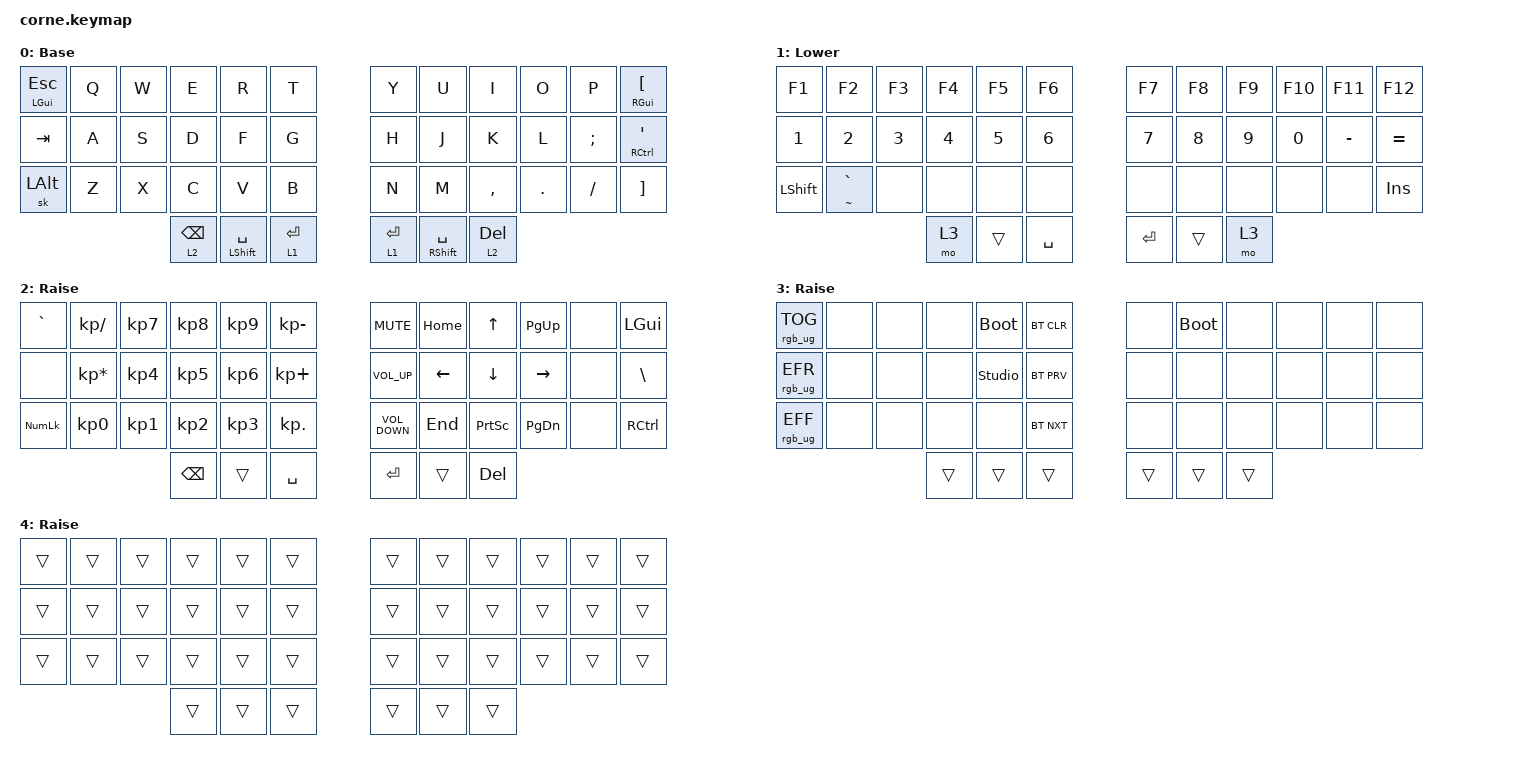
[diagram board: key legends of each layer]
/*
 * Copyright (c) 2020 The ZMK Contributors
 *
 * SPDX-License-Identifier: MIT
 */

#include <behaviors.dtsi>
#include <dt-bindings/zmk/bt.h>
#include <dt-bindings/zmk/keys.h>
#include <dt-bindings/zmk/rgb.h>

&led_strip {
    chain-length = <27>; // Change to 42 for both sides, or 27 for just underglow/first column
};

/ {
    keymap {
        compatible = "zmk,keymap";

        default_layer {
            // -----------------------------------------------------------------------------------------
            // |  TAB |  Q  |  W  |  E  |  R  |  T  |   |  Y  |  U   |  I  |  O  |  P  | BKSP |
            // | CTRL |  A  |  S  |  D  |  F  |  G  |   |  H  |  J   |  K  |  L  |  ;  |  '   |
            // | SHFT |  Z  |  X  |  C  |  V  |  B  |   |  N  |  M   |  ,  |  .  |  /  | ESC  |
            //                    | GUI | LWR | SPC |   | ENT | RSE  | ALT |

            display-name = "Base";
            bindings = <
&mt LEFT_GUI ESCAPE  &kp Q  &kp W  &kp E            &kp R                 &kp T          &kp Y        &kp U                  &kp I      &kp O    &kp P     &mt RIGHT_GUI LEFT_BRACKET
&kp TAB              &kp A  &kp S  &kp D            &kp F                 &kp G          &kp H        &kp J                  &kp K      &kp L    &kp SEMI  &mt RCTRL SQT
&sk LEFT_ALT         &kp Z  &kp X  &kp C            &kp V                 &kp B          &kp N        &kp M                  &kp COMMA  &kp DOT  &kp FSLH  &kp RIGHT_BRACKET
                                   &lt 2 BACKSPACE  &mt LEFT_SHIFT SPACE  &lt 1 ENTER    &lt 1 ENTER  &mt RIGHT_SHIFT SPACE  &lt 2 DEL
            >;
        };

        lower_layer {
            // -----------------------------------------------------------------------------------------
            // |  TAB |  1  |  2  |  3  |  4  |  5  |   |  6  |  7  |  8  |  9  |  0  | BKSP |
            // | BTCLR| BT1 | BT2 | BT3 | BT4 | BT5 |   | LFT | DWN |  UP | RGT |     |      |
            // | SHFT |     |     |     |     |     |   |     |     |     |     |     |      |
            //                    | GUI |     | SPC |   | ENT |     | ALT |

            display-name = "Lower";
            bindings = <
&kp F1        &kp F2           &kp F3        &kp F4        &kp F5  &kp F6          &kp F7   &kp F8  &kp F9  &kp F10  &kp F11    &kp F12
&kp NUMBER_1  &kp NUMBER_2     &kp NUMBER_3  &kp NUMBER_4  &kp N5  &kp NUMBER_6    &kp N7   &kp N8  &kp N9  &kp N0   &kp MINUS  &kp EQUAL
&kp LSHFT     &mt TILDE GRAVE  &none         &none         &none   &none           &none    &none   &none   &none    &none      &kp INS
                                             &mo 3         &trans  &kp SPACE       &kp RET  &trans  &mo 3
            >;
        };

        raise_layer {
            // -----------------------------------------------------------------------------------------
            // |  TAB |  !  |  @  |  #  |  $  |  %  |   |  ^  |  &  |  *  |  (  |  )  | BKSP |
            // | CTRL |     |     |     |     |     |   |  -  |  =  |  [  |  ]  |  \  |  `   |
            // | SHFT |     |     |     |     |     |   |  _  |  +  |  {  |  }  | "|" |  ~   |
            //                    | GUI |     | SPC |   | ENT |     | ALT |

            display-name = "Raise";
            bindings = <
&kp GRAVE       &kp KP_SLASH     &kp KP_NUMBER_7  &kp KP_NUMBER_8  &kp KP_NUMBER_9  &kp KP_MINUS    &kp C_MUTE         &kp HOME  &kp UP           &kp PAGE_UP    &none  &kp LEFT_GUI
&none           &kp KP_ASTERISK  &kp KP_NUMBER_4  &kp KP_NUMBER_5  &kp KP_NUMBER_6  &kp KP_PLUS     &kp C_VOLUME_UP    &kp LEFT  &kp DOWN         &kp RIGHT      &none  &kp BACKSLASH
&kp KP_NUMLOCK  &kp KP_NUMBER_0  &kp KP_NUMBER_1  &kp KP_NUMBER_2  &kp KP_NUMBER_3  &kp KP_DOT      &kp C_VOLUME_DOWN  &kp END   &kp PRINTSCREEN  &kp PAGE_DOWN  &none  &kp RCTRL
                                                  &kp BACKSPACE    &trans           &kp SPACE       &kp RET            &trans    &kp DEL
            >;
        };

        layer_3 {
            display-name = "Raise";
            bindings = <
&rgb_ug RGB_TOG  &none  &none  &none   &bootloader     &bt BT_CLR    &none   &bootloader  &none   &none  &none  &none
&rgb_ug RGB_EFR  &none  &none  &none   &studio_unlock  &bt BT_PRV    &none   &none        &none   &none  &none  &none
&rgb_ug RGB_EFF  &none  &none  &none   &none           &bt BT_NXT    &none   &none        &none   &none  &none  &none
                               &trans  &trans          &trans        &trans  &trans       &trans
            >;
        };

        Blank {
            display-name = "Raise";
            bindings = <
&trans  &trans  &trans  &trans  &trans  &trans    &trans  &trans  &trans  &trans  &trans  &trans
&trans  &trans  &trans  &trans  &trans  &trans    &trans  &trans  &trans  &trans  &trans  &trans
&trans  &trans  &trans  &trans  &trans  &trans    &trans  &trans  &trans  &trans  &trans  &trans
                        &trans  &trans  &trans    &trans  &trans  &trans
            >;
        };
    };
};
